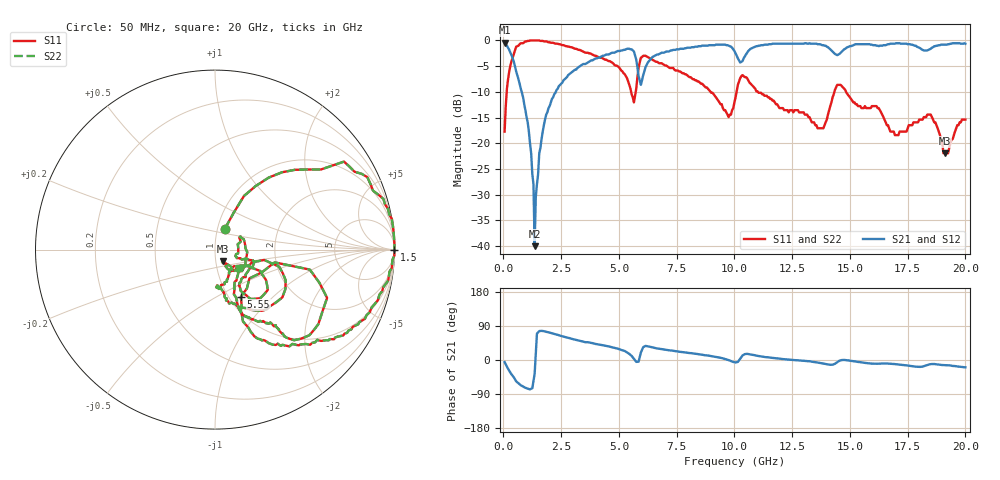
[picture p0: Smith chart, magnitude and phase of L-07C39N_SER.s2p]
#	mhz	s	ma	r	50
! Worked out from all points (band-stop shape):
!   400 points, 50 MHz to 20 GHz, reference 50 ohm
!   highest |S21| = -0.45 dB at 50 MHz (marker M1); lowest = -40.0 dB at 1.35 GHz (marker M2)
!   |S21| within 3 dB of the highest: 6.406 GHz to 10.15 GHz (3.74 GHz wide, 45.2 % of centre); 10.4 GHz to end of sweep (the widest 2 of 4)
!   lowest |S11| = -21.9 dB at 19.1 GHz (marker M3), VSWR 1.17, Z = 54.3 - j7.18 ohm
!   |S11| at or under -10 dB: 8.969 GHz to 10.1 GHz (1.127 GHz wide, 11.8 % of centre); 11.02 GHz to 14.33 GHz (3.309 GHz wide, 26.1 % of centre); 14.83 GHz to end of sweep (the widest 3 of 5)
!   |S22| runs from -21.9 to 0.0 dB; largest |S21 - S12| = 0
!   S11 on the Smith chart (normalised r, x): 50 MHz: 1.09, +0.26; 1.5 GHz: open; 5.55 GHz: 1.13, -0.66; 20 GHz: 1.28, -0.27
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50  0.13 64.7  0.95 -5.5  0.95 -5.5  0.13 64.7
300  0.57 49.1  0.76 -33.2  0.76 -33.2  0.57 49.1
1050  0.99 13.2  0.16 -75.7  0.16 -75.7  0.99 13.2
1300  1 5.6  0.04 -55.6  0.04 -55.6  1 5.6
1350  1 3.7  0.01 -36.8  0.01 -36.8  1 3.7
1400  1 2.6  0.03 16.4  0.03 16.4  1 2.6
1500  1 -0.2  0.05 73.0  0.05 73.0  1 -0.2
2100  0.95 -16.3  0.27 70.5  0.27 70.5  0.95 -16.3
3400  0.79 -39.9  0.58 49.3  0.58 49.3  0.79 -39.9
5550  0.3 -61.3  0.82 10.8  0.82 10.8  0.3 -61.3
5950  0.68 -23.3  0.37 19.7  0.37 19.7  0.68 -23.3
6700  0.61 -51.2  0.73 30.1  0.73 30.1  0.61 -51.2
9750  0.18 -43.4  0.89 -0.4  0.89 -0.4  0.18 -43.4
10050  0.28 -11.9  0.75 -6.6  0.75 -6.6  0.28 -11.9
10550  0.43 -52.4  0.76 16.3  0.76 16.3  0.43 -52.4
13350  0.16 -61.4  0.93 -4.4  0.93 -4.4  0.16 -61.4
13850  0.14 -41.1  0.9 -9.4  0.9 -9.4  0.14 -41.1
14600  0.37 -46.7  0.76 -0.9  0.76 -0.9  0.37 -46.7
16700  0.14 -20.0  0.92 -9.7  0.92 -9.7  0.14 -20.0
18500  0.19 -38.1  0.83 -11.0  0.83 -11.0  0.19 -38.1
19100  0.08 -55.2  0.91 -13.5  0.91 -13.5  0.08 -55.2
20000  0.17 -36.8  0.93 -19.3  0.93 -19.3  0.17 -36.8
